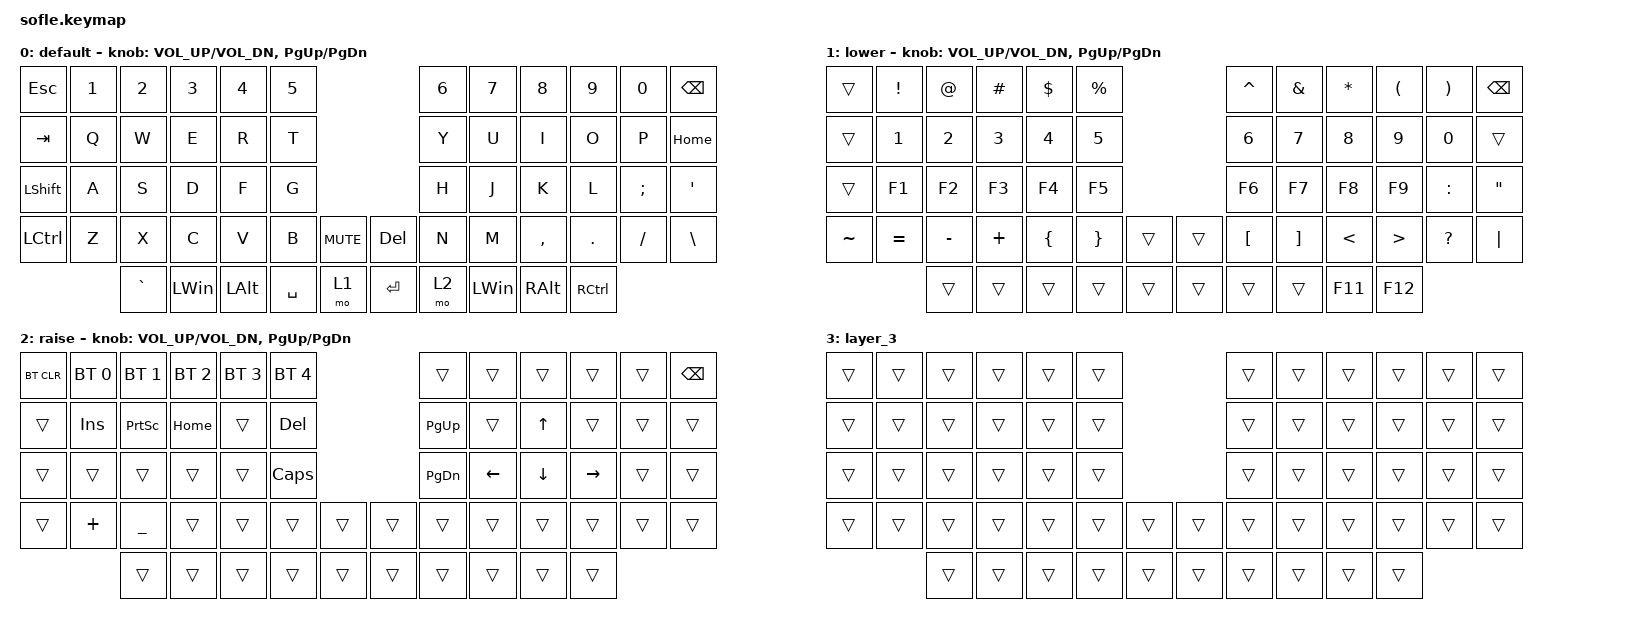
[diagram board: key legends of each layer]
/*
 * Copyright (c) 2020 The ZMK Contributors
 *
 * SPDX-License-Identifier: MIT
 */

#include <behaviors.dtsi>
#include <dt-bindings/zmk/bt.h>
#include <dt-bindings/zmk/keys.h>

#define BASE 0
#define LOWER 1
#define RAISE 2
#define ADJUST 3

/ {
    // Activate ADJUST layer by pressing raise and lower

    conditional_layers {
        compatible = "zmk,conditional-layers";

        adjust_layer {
            if-layers = <1 2>;
            then-layer = <3>;
        };
    };

    keymap {
        compatible = "zmk,keymap";

        default_layer {
            display-name = "default";

            // ------------------------------------------------------------------------------------------------------------
            // |   `   |  1  |  2  |  3   |  4   |  5   |                   |  6   |  7    |  8    |  9   |   0   |       |
            // |  ESC  |  Q  |  W  |  E   |  R   |  T   |                   |  Y   |  U    |  I    |  O   |   P   | BKSPC |
            // |  TAB  |  A  |  S  |  D   |  F   |  G   |                   |  H   |  J    |  K    |  L   |   ;   |   '   |
            // | SHIFT |  Z  |  X  |  C   |  V   |  B   |  MUTE  |  |       |  N   |  M    |  ,    |  .   |   /   | SHIFT |
            //               | GUI | ALT  | CTRL | LOWER|  ENTER |  | SPACE | RAISE| CTRL  | ALT   | GUI  |

            bindings = <
&kp ESCAPE        &kp N1  &kp N2     &kp N3        &kp N4        &kp N5                               &kp N6  &kp N7        &kp N8     &kp N9             &kp N0         &kp BACKSPACE
&kp TAB           &kp Q   &kp W      &kp E         &kp R         &kp T                                &kp Y   &kp U         &kp I      &kp O              &kp P          &kp HOME
&kp LEFT_SHIFT    &kp A   &kp S      &kp D         &kp F         &kp G                                &kp H   &kp J         &kp K      &kp L              &kp SEMICOLON  &kp SQT
&kp LEFT_CONTROL  &kp Z   &kp X      &kp C         &kp V         &kp B      &kp C_MUTE    &kp DELETE  &kp N   &kp M         &kp COMMA  &kp DOT            &kp FSLH       &kp BACKSLASH
                          &kp GRAVE  &kp LEFT_WIN  &kp LEFT_ALT  &kp SPACE  &mo 1         &kp ENTER   &mo 2   &kp LEFT_WIN  &kp RALT   &kp RIGHT_CONTROL
            >;

            sensor-bindings = <&inc_dec_kp C_VOL_UP C_VOL_DN &inc_dec_kp PG_UP PG_DN>;
        };

        lower_layer {
            display-name = "lower";

            // TODO: Some binds are waiting for shifted keycode support.
            // ------------------------------------------------------------------------------------------------------------
            // |       |  F1 |  F2 |  F3  |  F4  |  F5  |                   |  F6  |  F7   |  F8   |  F9  |  F10  |  F11  |
            // |   `   |  1  |  2  |  3   |  4   |  5   |                   |  6   |  7    |  8    |  9   |   0   |  F12  |
            // |       |  !  |  @  |  #   |  $   |  %   |                   |  ^   |  &    |  *    |  (   |   )   |   |   |
            // |       |  =  |  -  |  +   |  {   |  }   |        |  |       |  [   |  ]    |  ;    |  :   |   \   |       |
            //               |     |      |      |      |        |  |       |      |       |       |      |

            bindings = <
&trans     &kp EXCL   &kp AT     &kp HASH  &kp DOLLAR  &kp PERCENT                    &kp CARET  &kp AMPS  &kp ASTRK      &kp LEFT_PARENTHESIS  &kp RIGHT_PARENTHESIS  &kp BACKSPACE
&trans     &kp N1     &kp N2     &kp N3    &kp N4      &kp N5                         &kp N6     &kp N7    &kp N8         &kp N9                &kp N0                 &trans
&trans     &kp F1     &kp F2     &kp F3    &kp F4      &kp F5                         &kp F6     &kp F7    &kp F8         &kp F9                &kp COLON              &kp DOUBLE_QUOTES
&kp TILDE  &kp EQUAL  &kp MINUS  &kp PLUS  &kp LBRC    &kp RBRC     &trans    &trans  &kp LBKT   &kp RBKT  &kp LESS_THAN  &kp GREATER_THAN      &kp QUESTION           &kp PIPE
                      &trans     &trans    &trans      &trans       &trans    &trans  &trans     &trans    &kp F11        &kp F12
            >;

            sensor-bindings = <&inc_dec_kp C_VOL_UP C_VOL_DN &inc_dec_kp PG_UP PG_DN>;
        };

        raise_layer {
            display-name = "raise";

            // ------------------------------------------------------------------------------------------------------------
            // | BTCLR | BT1  | BT2  |  BT3  |  BT4  |  BT5 |                |      |      |       |      |       |       |
            // |       | INS  | PSCR | GUI   |       |      |                | PGUP |      |   ^   |      |       |       |
            // |       | ALT  | CTRL | SHIFT |       | CAPS |                | PGDN |   <- |   v   |  ->  |  DEL  | BKSPC |
            // |       | UNDO | CUT  | COPY  | PASTE |      |      |  |      |      |      |       |      |       |       |
            //                |      |       |       |      |      |  |      |      |      |       |      |

            bindings = <
&bt BT_CLR  &bt BT_SEL 0  &bt BT_SEL 1    &bt BT_SEL 2  &bt BT_SEL 3  &bt BT_SEL 4                    &trans     &trans    &trans    &trans     &trans  &kp BACKSPACE
&trans      &kp INS       &kp PSCRN       &kp HOME      &trans        &kp DELETE                      &kp PG_UP  &trans    &kp UP    &trans     &trans  &trans
&trans      &trans        &trans          &trans        &trans        &kp CLCK                        &kp PG_DN  &kp LEFT  &kp DOWN  &kp RIGHT  &trans  &trans
&trans      &kp PLUS      &kp UNDERSCORE  &trans        &trans        &trans        &trans    &trans  &trans     &trans    &trans    &trans     &trans  &trans
                          &trans          &trans        &trans        &trans        &trans    &trans  &trans     &trans    &trans    &trans
            >;

            sensor-bindings = <&inc_dec_kp C_VOL_UP C_VOL_DN &inc_dec_kp PG_UP PG_DN>;
        };

        layer_3 {
            bindings = <
&trans  &trans  &trans  &trans  &trans  &trans                    &trans  &trans  &trans  &trans  &trans  &trans
&trans  &trans  &trans  &trans  &trans  &trans                    &trans  &trans  &trans  &trans  &trans  &trans
&trans  &trans  &trans  &trans  &trans  &trans                    &trans  &trans  &trans  &trans  &trans  &trans
&trans  &trans  &trans  &trans  &trans  &trans  &trans    &trans  &trans  &trans  &trans  &trans  &trans  &trans
                &trans  &trans  &trans  &trans  &trans    &trans  &trans  &trans  &trans  &trans
            >;
        };
    };
};
